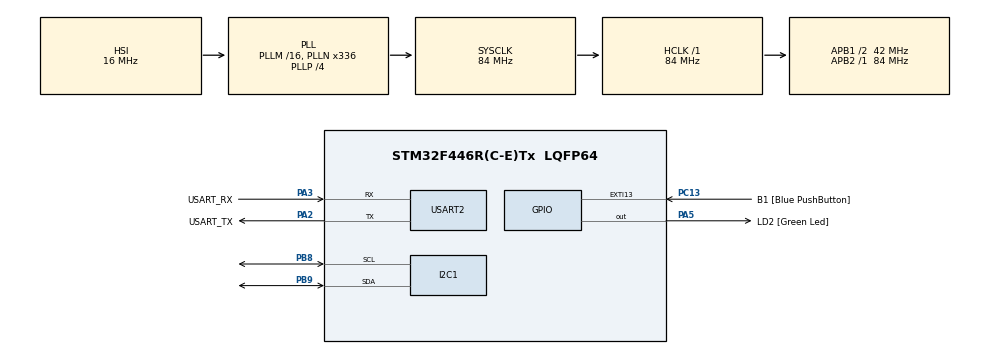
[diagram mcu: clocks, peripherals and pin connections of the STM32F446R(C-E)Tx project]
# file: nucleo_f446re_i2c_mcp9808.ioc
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Mcu.Family=STM32F4
Mcu.Name=STM32F446R(C-E)Tx
Mcu.Package=LQFP64
NVIC.PriorityGroup=NVIC_PRIORITYGROUP_0
PA13.GPIO_Label=TMS
PA13.Mode=Serial_Wire
PA13.Signal=SYS_JTMS-SWDIO
PA14.GPIO_Label=TCK
PA14.Mode=Serial_Wire
PA14.Signal=SYS_JTCK-SWCLK
PA2.GPIO_Label=USART_TX
PA2.Mode=Asynchronous
PA2.Signal=USART2_TX
PA3.GPIO_Label=USART_RX
PA3.Mode=Asynchronous
PA3.Signal=USART2_RX
PA5.GPIO_Label=LD2 [Green Led]
PA5.Signal=GPIO_Output
PB3.GPIO_Label=SWO
PB3.Signal=SYS_JTDO-SWO
PB8.Mode=I2C
PB8.Signal=I2C1_SCL
PB9.Mode=I2C
PB9.Signal=I2C1_SDA
PC13.GPIO_Label=B1 [Blue PushButton]
PC13.GPIO_ModeDefaultEXTI=GPIO_MODE_IT_FALLING
PC13.Signal=GPXTI13
PC14-OSC32_IN.Signal=RCC_OSC32_IN
PC15-OSC32_OUT.Signal=RCC_OSC32_OUT
PH0-OSC_IN.Signal=RCC_OSC_IN
PH1-OSC_OUT.Signal=RCC_OSC_OUT
ProjectManager.HeapSize=0x200
ProjectManager.StackSize=0x400
ProjectManager.TargetToolchain=STM32CubeIDE
RCC.AHBFreq_Value=84000000
RCC.APB1CLKDivider=RCC_HCLK_DIV2
RCC.APB1Freq_Value=42000000
RCC.APB1TimFreq_Value=84000000
RCC.APB2Freq_Value=84000000
RCC.APB2TimFreq_Value=84000000
RCC.CortexFreq_Value=84000000
RCC.FLatency-AdvancedSettings=FLASH_LATENCY_2
RCC.HCLKFreq_Value=84000000
RCC.HSE_VALUE=8000000
RCC.HSI_VALUE=16000000
RCC.LSE_VALUE=32768
RCC.PLLN=336
RCC.PLLP=RCC_PLLP_DIV4
RCC.SYSCLKFreq_VALUE=84000000
RCC.SYSCLKSource=RCC_SYSCLKSOURCE_PLLCLK
RCC.USBFreq_Value=168000000
RCC.VCOOutputFreq_Value=336000000
USART2.VirtualMode=VM_ASYNC
board=NUCLEO-F446RE

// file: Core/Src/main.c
/* USER CODE BEGIN Header */
/**
  ******************************************************************************
  * @file           : main.c
  * @brief          : Main program body
  ******************************************************************************
  * @attention
  *
  * Copyright (c) 2026 STMicroelectronics.
  * All rights reserved.
  *
  * This software is licensed under terms that can be found in the LICENSE file
  * in the root directory of this software component.
  * If no LICENSE file comes with this software, it is provided AS-IS.
  *
  ******************************************************************************
  */
/* USER CODE END Header */
#include "main.h"

/* USER CODE BEGIN Includes */

#include <stdio.h>
#include <string.h>
#include <stdbool.h>

/* USER CODE END Includes */

/* USER CODE BEGIN PD */

#define MCP9808_I2C_ADDR (0x18u << 1u)
#define MCP9808_REG_AMBIENT 0x05u
#define MCP9808_REG_MANUF_ID 0x06u
#define MCP9808_DEVICE_ID 0x07u
#define SENSOR_READ_MS 1000u

/* USER CODE END PD */

I2C_HandleTypeDef hi2c1;

UART_HandleTypeDef huart2;

/* USER CODE BEGIN PV */

static uint32_t last_read_ms = 0u;

/* USER CODE END PV */

void SystemClock_Config(void);
static void MX_GPIO_Init(void);
static void MX_I2C1_Init(void);
static void MX_USART2_UART_Init(void);
/* USER CODE BEGIN PFP */

static void uart_print(const char *text);
static bool mcp9808_read_temp_x10(uint16_t *raw_out, int32_t *out);
static void split_temp_x10(int32_t t, const char **sign, uint32_t *int_part, uint32_t *frac_part);

/* USER CODE END PFP */

int main(void)
{

  /* MCU Configuration--------------------------------------------------------*/

  /* Reset of all peripherals, Initializes the Flash interface and the Systick. */
  HAL_Init();

  /* Configure the system clock */
  SystemClock_Config();

  /* Initialize all configured peripherals */
  MX_GPIO_Init();
  MX_I2C1_Init();
  MX_USART2_UART_Init();
  /* USER CODE BEGIN 2 */

  char line[48];
  uint32_t found_cnt = 0;

  uart_print("MCP9808 test ready\r\n");

  for(uint8_t addr = 0x08; addr <= 0x77; addr++) {
	  if (HAL_I2C_IsDeviceReady(&hi2c1, (uint16_t)(addr << 1), 1, 10) == HAL_OK) {
		  found_cnt++;
		  snprintf(line, sizeof(line), "Found device at 0x%02x\r\n", (unsigned int)addr);
		  uart_print(line);
	  }
  }

  (void)snprintf(line, sizeof(line), "Scan done: %u device(s)\r\n", (unsigned int)found_cnt);
  uart_print(line);

  uint8_t buf[2];
  uint16_t id_val;

  if (HAL_I2C_Mem_Read(&hi2c1, MCP9808_I2C_ADDR, MCP9808_REG_MANUF_ID, I2C_MEMADD_SIZE_8BIT, buf, 2u, 100u) != HAL_OK) {
	  uart_print("Read Manufacturer ID failed\r\n");
  }
  else {
	  id_val = ((uint16_t)buf[0] << 8) | buf[1];
	  snprintf(line, sizeof(line), "Manufacturer ID: 0x%04x\r\n", (unsigned int)id_val);
	  uart_print(line);
  }

  if (HAL_I2C_Mem_Read(&hi2c1, MCP9808_I2C_ADDR, MCP9808_DEVICE_ID, I2C_MEMADD_SIZE_8BIT, buf, 2u, 100u) != HAL_OK) {
	  uart_print("Read Device ID failed\r\n");
    }
    else {
  	  id_val = ((uint16_t)buf[1] << 8) | buf[0];
  	  snprintf(line, sizeof(line), "Device ID: 0x%04x\r\n", (unsigned int)id_val);
  	  uart_print(line);
    }

  /* USER CODE END 2 */

  /* Infinite loop */
  /* USER CODE BEGIN WHILE */

  char res[128];

  int32_t temp_x10 = 0;
  uint16_t temp_raw = 0;
  const char *temp_sign;
  uint32_t temp_int;
  uint32_t temp_frac;

  while (1)
  {
    /* USER CODE END WHILE */

	  uint32_t now_ms = HAL_GetTick();

	  if (((uint32_t)now_ms - last_read_ms) >= SENSOR_READ_MS) {
		  last_read_ms = now_ms;
		  if (mcp9808_read_temp_x10(&temp_raw, &temp_x10)){
			  split_temp_x10(temp_x10, &temp_sign, &temp_int, &temp_frac);
			  (void)snprintf(res, sizeof(res),
					         "MCP9808: raw = 0x%04x, temp = %s%lu.%lu degC\r\n",
							 (unsigned int)temp_raw,
							 temp_sign,
							 (unsigned long)temp_int,
							 (unsigned long)temp_frac);
			  uart_print(res);
		  }
		  else {
			  uart_print("MCP9808: Data read failed\r\n");
		  }
	  }

  }
}

void SystemClock_Config(void)
{
  RCC_OscInitTypeDef RCC_OscInitStruct = {0};
  RCC_ClkInitTypeDef RCC_ClkInitStruct = {0};

  /** Configure the main internal regulator output voltage
  */
  __HAL_RCC_PWR_CLK_ENABLE();
  __HAL_PWR_VOLTAGESCALING_CONFIG(PWR_REGULATOR_VOLTAGE_SCALE3);

  /** Initializes the RCC Oscillators according to the specified parameters
  * in the RCC_OscInitTypeDef structure.
  */
  RCC_OscInitStruct.OscillatorType = RCC_OSCILLATORTYPE_HSI;
  RCC_OscInitStruct.HSIState = RCC_HSI_ON;
  RCC_OscInitStruct.HSICalibrationValue = RCC_HSICALIBRATION_DEFAULT;
  RCC_OscInitStruct.PLL.PLLState = RCC_PLL_ON;
  RCC_OscInitStruct.PLL.PLLSource = RCC_PLLSOURCE_HSI;
  RCC_OscInitStruct.PLL.PLLM = 16;
  RCC_OscInitStruct.PLL.PLLN = 336;
  RCC_OscInitStruct.PLL.PLLP = RCC_PLLP_DIV4;
  RCC_OscInitStruct.PLL.PLLQ = 2;
  RCC_OscInitStruct.PLL.PLLR = 2;
  if (HAL_RCC_OscConfig(&RCC_OscInitStruct) != HAL_OK)
  {
    Error_Handler();
  }

  /** Initializes the CPU, AHB and APB buses clocks
  */
  RCC_ClkInitStruct.ClockType = RCC_CLOCKTYPE_HCLK|RCC_CLOCKTYPE_SYSCLK
                              |RCC_CLOCKTYPE_PCLK1|RCC_CLOCKTYPE_PCLK2;
  RCC_ClkInitStruct.SYSCLKSource = RCC_SYSCLKSOURCE_PLLCLK;
  RCC_ClkInitStruct.AHBCLKDivider = RCC_SYSCLK_DIV1;
  RCC_ClkInitStruct.APB1CLKDivider = RCC_HCLK_DIV2;
  RCC_ClkInitStruct.APB2CLKDivider = RCC_HCLK_DIV1;

  if (HAL_RCC_ClockConfig(&RCC_ClkInitStruct, FLASH_LATENCY_2) != HAL_OK)
  {
    Error_Handler();
  }
}

static void MX_I2C1_Init(void)
{

  hi2c1.Instance = I2C1;
  hi2c1.Init.ClockSpeed = 100000;
  hi2c1.Init.DutyCycle = I2C_DUTYCYCLE_2;
  hi2c1.Init.OwnAddress1 = 0;
  hi2c1.Init.AddressingMode = I2C_ADDRESSINGMODE_7BIT;
  hi2c1.Init.DualAddressMode = I2C_DUALADDRESS_DISABLE;
  hi2c1.Init.OwnAddress2 = 0;
  hi2c1.Init.GeneralCallMode = I2C_GENERALCALL_DISABLE;
  hi2c1.Init.NoStretchMode = I2C_NOSTRETCH_DISABLE;
  if (HAL_I2C_Init(&hi2c1) != HAL_OK)
  {
    Error_Handler();
  }

}

static void MX_USART2_UART_Init(void)
{

  huart2.Instance = USART2;
  huart2.Init.BaudRate = 115200;
  huart2.Init.WordLength = UART_WORDLENGTH_8B;
  huart2.Init.StopBits = UART_STOPBITS_1;
  huart2.Init.Parity = UART_PARITY_NONE;
  huart2.Init.Mode = UART_MODE_TX_RX;
  huart2.Init.HwFlowCtl = UART_HWCONTROL_NONE;
  huart2.Init.OverSampling = UART_OVERSAMPLING_16;
  if (HAL_UART_Init(&huart2) != HAL_OK)
  {
    Error_Handler();
  }

}

static void MX_GPIO_Init(void)
{
  GPIO_InitTypeDef GPIO_InitStruct = {0};

  /* GPIO Ports Clock Enable */
  __HAL_RCC_GPIOC_CLK_ENABLE();
  __HAL_RCC_GPIOH_CLK_ENABLE();
  __HAL_RCC_GPIOA_CLK_ENABLE();
  __HAL_RCC_GPIOB_CLK_ENABLE();

  /*Configure GPIO pin Output Level */
  HAL_GPIO_WritePin(LD2_GPIO_Port, LD2_Pin, GPIO_PIN_RESET);

  /*Configure GPIO pin : B1_Pin */
  GPIO_InitStruct.Pin = B1_Pin;
  GPIO_InitStruct.Mode = GPIO_MODE_IT_FALLING;
  GPIO_InitStruct.Pull = GPIO_NOPULL;
  HAL_GPIO_Init(B1_GPIO_Port, &GPIO_InitStruct);

  /*Configure GPIO pin : LD2_Pin */
  GPIO_InitStruct.Pin = LD2_Pin;
  GPIO_InitStruct.Mode = GPIO_MODE_OUTPUT_PP;
  GPIO_InitStruct.Pull = GPIO_NOPULL;
  GPIO_InitStruct.Speed = GPIO_SPEED_FREQ_LOW;
  HAL_GPIO_Init(LD2_GPIO_Port, &GPIO_InitStruct);

}

/* USER CODE BEGIN 4 */

static void uart_print(const char *text) {
	uint16_t text_len = strlen(text);

	HAL_UART_Transmit(&huart2, (uint8_t *)text, text_len, 100u);
}

static bool mcp9808_read_temp_x10(uint16_t *raw_out, int32_t *out) {
	uint8_t buf[2];
	uint16_t raw;
	int32_t t;

	if (HAL_I2C_Mem_Read(&hi2c1, MCP9808_I2C_ADDR, MCP9808_REG_AMBIENT, I2C_MEMADD_SIZE_8BIT, buf, 2u, 100u) != HAL_OK) {
		return false;
	}
	else {
		raw = ((uint16_t)buf[0] << 8u) | buf[1];
		*raw_out = raw;
		raw &= 0x1FFFu;
		t = (int32_t)raw;

		if (t & 0x1000u) {
			t -= 0x2000u;
		}

		t = t * 10 / 16;
		*out = t;
		return true;
	}
}

static void split_temp_x10(int32_t t, const char **sign, uint32_t *int_part, uint32_t *frac_part) {
	uint32_t abs_t;

	if (t < 0) {
		*sign = "-";
		abs_t = -t;
	}
	else {
		*sign = "";
		abs_t = t;
	}

	*int_part = abs_t / 10;
	*frac_part = abs_t % 10;
}

/* USER CODE END 4 */

void Error_Handler(void)
{
  __disable_irq();
  while (1)
  {
  }
}
